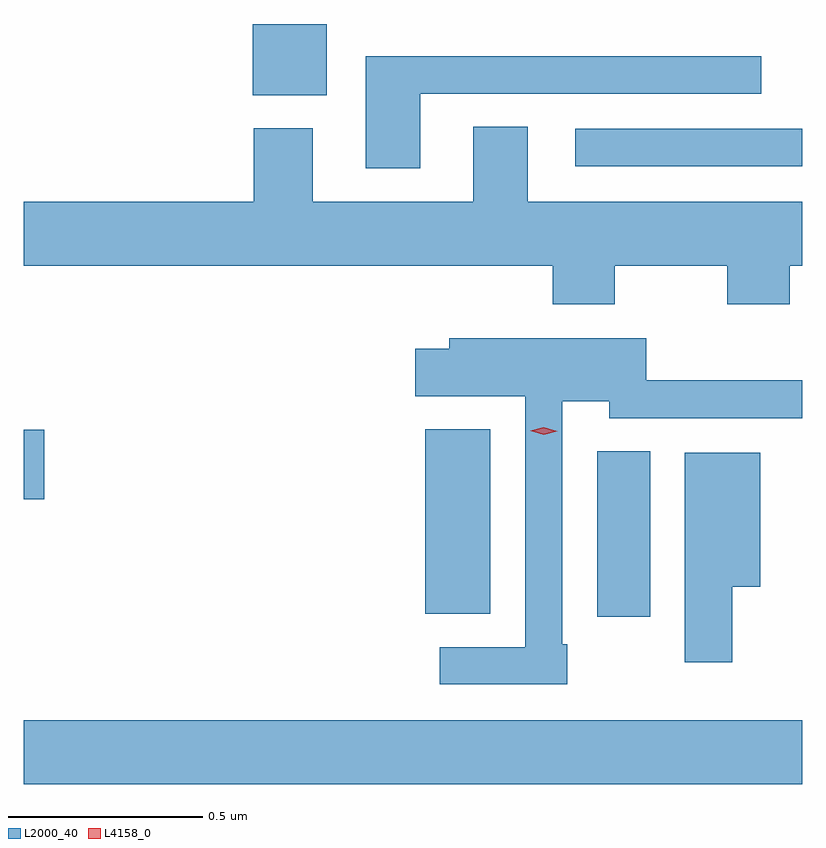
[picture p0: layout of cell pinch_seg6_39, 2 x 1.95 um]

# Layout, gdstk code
import gdstk
lib = gdstk.Library(unit=1e-6, precision=1e-09)
def R(c, l, rs):  # rectangles x0, y0, x1, y1
    for r in rs: c.add(gdstk.rectangle(r[:2], r[2:], *l))
def P(c, l, *ps):  # polygons
    for p in ps: c.add(gdstk.Polygon(p, *l))
L2000_40 = (2000, 40)
L4158_0 = (4158, 0)

pinch_seg6_39 = lib.new_cell('pinch_seg6_39')
R(pinch_seg6_39, L2000_40, [(949.988,967.316,951.988,967.48), (951.461,967.746,951.598,968.171), (951.02,967.753,951.187,968.227), (949.988,968.048,950.041,968.226), (951.405,968.904,951.988,969), (950.576,969.086,950.767,969.269)])
P(pinch_seg6_39, L2000_40, [(951.007,969.09),(951.883,969.09),(951.883,969.186),(950.867,969.186),(950.867,968.898),(951.007,968.898)],
  [(951.507,968.648),(951.796,968.648),(951.796,968.549),(951.956,968.549),(951.956,968.648),(951.988,968.648),(951.988,968.812),(951.283,968.812),(951.283,969.005),(951.143,969.005),(951.143,968.812),(950.731,968.812),(950.731,969.001),(950.579,969.001),(950.579,968.812),(949.988,968.812),(949.988,968.648),(951.347,968.648),(951.347,968.549),(951.507,968.549)],
  [(951.385,967.675),(951.372,967.675),(951.372,968.3),(951.492,968.3),(951.492,968.256),(951.988,968.256),(951.988,968.354),(951.588,968.354),(951.588,968.461),(951.081,968.461),(951.081,968.434),(950.994,968.434),(950.994,968.312),(951.276,968.312),(951.276,967.668),(951.057,967.668),(951.057,967.572),(951.385,967.572)],
  [(951.808,967.823),(951.88,967.823),(951.88,968.167),(951.686,968.167),(951.686,967.629),(951.808,967.629)])
P(pinch_seg6_39, L4158_0, [(951.324,968.213),(951.289,968.224),(951.289,968.224),(951.289,968.224),(951.324,968.233),(951.359,968.222),(951.359,968.222),(951.359,968.222)])

lib.write_gds('pinch_seg6_39.gds')
